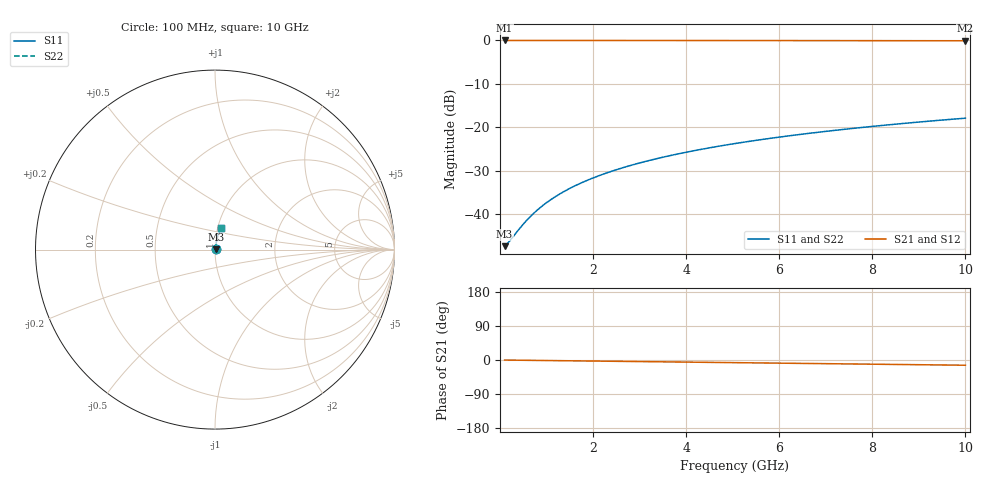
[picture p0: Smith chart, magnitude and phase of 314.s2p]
# Hz S RI R 50.00
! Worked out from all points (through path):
!   100 points, 100 MHz to 10 GHz, reference 50 ohm
!   highest |S21| = -0.04 dB at 100 MHz (marker M1); lowest = -0.1 dB at 10 GHz (marker M2)
!   group delay of S21, straight-line fit = 3.84 ps
!   lowest |S11| = -47.4 dB at 100 MHz (marker M3), VSWR 1.01, Z = 50.4 + j0.129 ohm
!   |S11| at or under -10 dB: start of sweep to end of sweep
!   |S22| runs from -47.4 to -17.9 dB; largest |S21 - S12| = 0
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1e8  0.00407 0.00127  0.9959 -0.00241  0.9959 -0.00241  0.00407 0.00127
2e8  0.00411 0.00255  0.9959 -0.00481  0.9959 -0.00481  0.00411 0.00255
4e8  0.00418 0.0051  0.9958 -0.00962  0.9958 -0.00962  0.00418 0.0051
5e8  0.00422 0.00637  0.9958 -0.012  0.9958 -0.012  0.00422 0.00637
6e8  0.00427 0.00764  0.9957 -0.0144  0.9957 -0.0144  0.00427 0.00764
7e8  0.00432 0.00892  0.9956 -0.0168  0.9956 -0.0168  0.00432 0.00892
9e8  0.00443 0.0115  0.9955 -0.0216  0.9955 -0.0216  0.00443 0.0115
1.1e9  0.00457 0.014  0.9953 -0.0265  0.9953 -0.0265  0.00457 0.014
1.3e9  0.00474 0.0166  0.9951 -0.0313  0.9951 -0.0313  0.00474 0.0166
1.5e9  0.00492 0.0191  0.9949 -0.0361  0.9949 -0.0361  0.00492 0.0191
1.8e9  0.00524 0.0229  0.9945 -0.0433  0.9945 -0.0433  0.00524 0.0229
2.1e9  0.00562 0.0267  0.9941 -0.0505  0.9941 -0.0505  0.00562 0.0267
2.5e9  0.0062 0.0318  0.9934 -0.0601  0.9934 -0.0601  0.0062 0.0318
2.9e9  0.00688 0.0368  0.9925 -0.0696  0.9925 -0.0696  0.00688 0.0368
3.4e9  0.00787 0.0431  0.9914 -0.0816  0.9914 -0.0816  0.00787 0.0431
4.2e9  0.00976 0.0531  0.9891 -0.1007  0.9891 -0.1007  0.00976 0.0531
5.1e9  0.0123 0.0642  0.9859 -0.122  0.9859 -0.122  0.0123 0.0642
5.9e9  0.015 0.074  0.9827 -0.1409  0.9827 -0.1409  0.015 0.074
6.7e9  0.0181 0.0837  0.9789 -0.1597  0.9789 -0.1597  0.0181 0.0837
7.5e9  0.0216 0.0933  0.9747 -0.1784  0.9747 -0.1784  0.0216 0.0933
8.4e9  0.0259 0.1038  0.9695 -0.1992  0.9695 -0.1992  0.0259 0.1038
1e10  0.0346 0.1221  0.9588 -0.2357  0.9588 -0.2357  0.0346 0.1221
